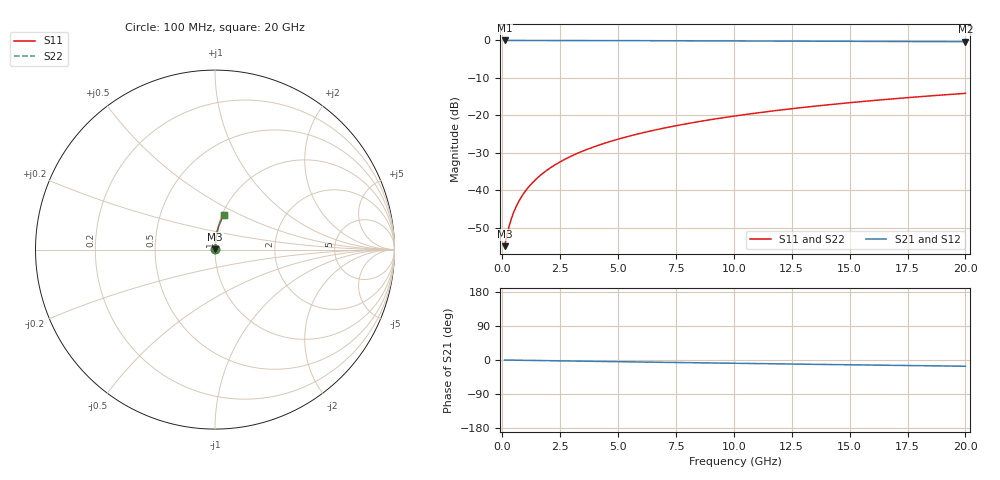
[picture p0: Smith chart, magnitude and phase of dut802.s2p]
! Touchstone file exported from HFSS 2024.1.0
!  File:  C:/UserFiles/LocalFiles/RDL_TSV_Batchsim/temp_RDL_top_802_1779853769.aedt
!  Generated:  11:51:42 AM May 27, 2026
!  Design:  RDL_top
!  Project:  temp_RDL_top_802_1779853769
!  Setup:  Setup1
!  Solution:  Sweep
! Variables:
!  dtsv = 10.80580581um
!  hbump = 3um
!  htsv = 81.83um
!  ldown = 100um
!  lrdl = 200.55um
!  p = 40
!  p1 = 40.78um
!  rhole = 1um
!  t = 450um
!  tdown = 3.915915916um
!  trdl = 3.73um
!  wdown = 15.38538539um
!  wrdl = 14.18um
# GHz S MA R 50.000000
! Terminal data exported
! Port[1] = Box2_T1
! Port[2] = Box2_T2
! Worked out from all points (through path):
!   200 points, 100 MHz to 20 GHz, reference 50 ohm
!   highest |S21| = -0.01 dB at 100 MHz (marker M1); lowest = -0.3 dB at 20 GHz (marker M2)
!   group delay of S21, straight-line fit = 2.28 ps
!   lowest |S11| = -54.8 dB at 100 MHz (marker M3), VSWR 1.00, Z = 50.2 + j0.102 ohm
!   |S11| at or under -10 dB: start of sweep to end of sweep
!   |S22| runs from -54.8 to -14.1 dB; largest |S21 - S12| = 3e-15
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0.1  0.001811 34.0  0.9985 -0.1  0.9985 -0.1  0.001811 34.0
! Gamma 0 0 0 0
! Port Impedance 50 0 50 0
0.2  0.002532 52.7  0.9985 -0.2  0.9985 -0.2  0.002532 52.7
0.3  0.003385 62.2  0.9984 -0.3  0.9984 -0.3  0.003385 62.2
0.4  0.00428 67.8  0.9984 -0.4  0.9984 -0.4  0.00428 67.8
0.5  0.00519 71.4  0.9983 -0.5  0.9983 -0.5  0.00519 71.4
0.6  0.006109 73.9  0.9983 -0.6  0.9983 -0.6  0.006109 73.9
0.8  0.007963 77.3  0.9982 -0.7  0.9982 -0.7  0.007963 77.3
1.1  0.01077 80.3  0.998 -1.0  0.998 -1.0  0.01077 80.3
1.5  0.01455 82.4  0.9978 -1.4  0.9978 -1.4  0.01455 82.4
1.8  0.01741 83.4  0.9976 -1.6  0.9976 -1.6  0.01741 83.4
2.1  0.02027 84.1  0.9974 -1.9  0.9974 -1.9  0.02027 84.1
2.7  0.02602 84.9  0.9968 -2.4  0.9968 -2.4  0.02602 84.9
3.5  0.03373 85.3  0.9959 -3.1  0.9959 -3.1  0.03373 85.3
4.2  0.04051 85.5  0.995 -3.8  0.995 -3.8  0.04051 85.5
5  0.0483 85.4  0.9938 -4.5  0.9938 -4.5  0.0483 85.4
5.9  0.05713 85.2  0.9923 -5.2  0.9923 -5.2  0.05713 85.2
6.8  0.066 84.9  0.9906 -6.0  0.9906 -6.0  0.06601 84.9
8.3  0.08091 84.2  0.9877 -7.3  0.9877 -7.3  0.08091 84.2
10.1  0.09891 83.2  0.9839 -8.7  0.9839 -8.7  0.09892 83.2
13.4  0.132 80.9  0.9766 -11.4  0.9766 -11.4  0.132 80.9
16.7  0.1648 78.4  0.9689 -13.9  0.9689 -13.9  0.1648 78.4
20  0.197 75.9  0.9607 -16.5  0.9607 -16.5  0.197 75.9
